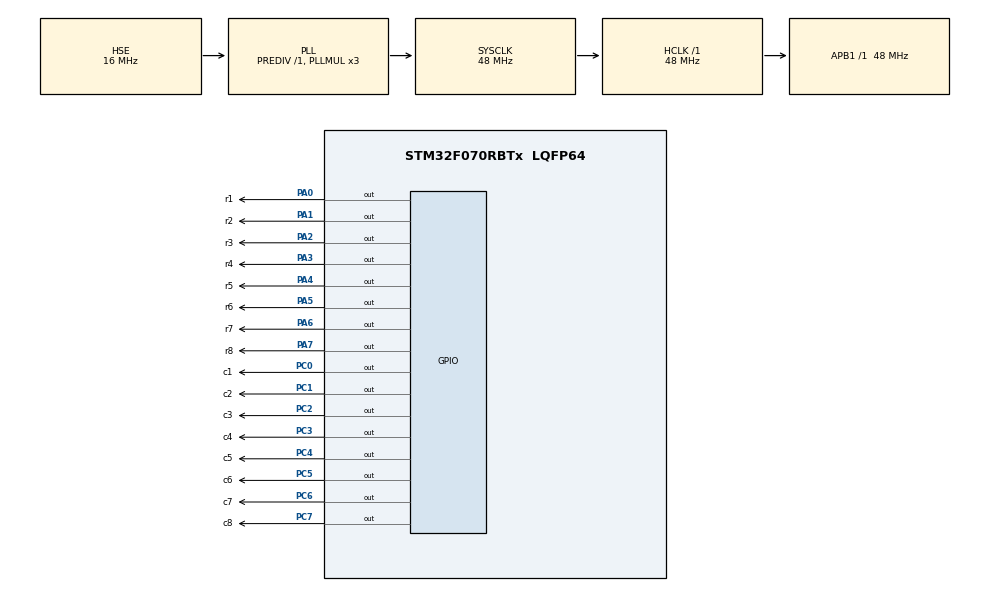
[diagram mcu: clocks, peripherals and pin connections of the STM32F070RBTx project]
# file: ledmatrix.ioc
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Mcu.Family=STM32F0
Mcu.Name=STM32F070RBTx
Mcu.Package=LQFP64
PA0.GPIO_Label=r1
PA0.PinState=GPIO_PIN_SET
PA0.Signal=GPIO_Output
PA1.GPIO_Label=r2
PA1.PinState=GPIO_PIN_SET
PA1.Signal=GPIO_Output
PA2.GPIO_Label=r3
PA2.PinState=GPIO_PIN_SET
PA2.Signal=GPIO_Output
PA3.GPIO_Label=r4
PA3.PinState=GPIO_PIN_SET
PA3.Signal=GPIO_Output
PA4.GPIO_Label=r5
PA4.PinState=GPIO_PIN_SET
PA4.Signal=GPIO_Output
PA5.GPIO_Label=r6
PA5.PinState=GPIO_PIN_SET
PA5.Signal=GPIO_Output
PA6.GPIO_Label=r7
PA6.PinState=GPIO_PIN_SET
PA6.Signal=GPIO_Output
PA7.GPIO_Label=r8
PA7.PinState=GPIO_PIN_SET
PA7.Signal=GPIO_Output
PC0.GPIO_Label=c1
PC0.Signal=GPIO_Output
PC1.GPIO_Label=c2
PC1.Signal=GPIO_Output
PC2.GPIO_Label=c3
PC2.Signal=GPIO_Output
PC3.GPIO_Label=c4
PC3.Signal=GPIO_Output
PC4.GPIO_Label=c5
PC4.Signal=GPIO_Output
PC5.GPIO_Label=c6
PC5.Signal=GPIO_Output
PC6.GPIO_Label=c7
PC6.Signal=GPIO_Output
PC7.GPIO_Label=c8
PC7.Signal=GPIO_Output
PF0-OSC_IN.Mode=HSE-External-Oscillator
PF0-OSC_IN.Signal=RCC_OSC_IN
PF1-OSC_OUT.Mode=HSE-External-Oscillator
PF1-OSC_OUT.Signal=RCC_OSC_OUT
ProjectManager.HeapSize=0x200
ProjectManager.StackSize=0x400
ProjectManager.TargetToolchain=MDK-ARM V5
RCC.AHBFreq_Value=48000000
RCC.APB1Freq_Value=48000000
RCC.APB1TimFreq_Value=48000000
RCC.HCLKFreq_Value=48000000
RCC.HSE_VALUE=16000000
RCC.PLLMUL=RCC_PLL_MUL3
RCC.PLLSourceVirtual=RCC_PLLSOURCE_HSE
RCC.SYSCLKFreq_VALUE=48000000
RCC.SYSCLKSource=RCC_SYSCLKSOURCE_PLLCLK
board=ledmatrix

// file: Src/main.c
/**
  ******************************************************************************
  * File Name          : main.c
  * Description        : Main program body
  ******************************************************************************
  ** This notice applies to any and all portions of this file
  * that are not between comment pairs USER CODE BEGIN and
  * USER CODE END. Other portions of this file, whether
  * inserted by the user or by software development tools
  * are owned by their respective copyright owners.
  *
  * COPYRIGHT(c) 2017 STMicroelectronics
  *
  * Redistribution and use in source and binary forms, with or without modification,
  * are permitted provided that the following conditions are met:
  *   1. Redistributions of source code must retain the above copyright notice,
  *      this list of conditions and the following disclaimer.
  *   2. Redistributions in binary form must reproduce the above copyright notice,
  *      this list of conditions and the following disclaimer in the documentation
  *      and/or other materials provided with the distribution.
  *   3. Neither the name of STMicroelectronics nor the names of its contributors
  *      may be used to endorse or promote products derived from this software
  *      without specific prior written permission.
  *
  * THIS SOFTWARE IS PROVIDED BY THE COPYRIGHT HOLDERS AND CONTRIBUTORS "AS IS"
  * AND ANY EXPRESS OR IMPLIED WARRANTIES, INCLUDING, BUT NOT LIMITED TO, THE
  * IMPLIED WARRANTIES OF MERCHANTABILITY AND FITNESS FOR A PARTICULAR PURPOSE ARE
  * DISCLAIMED. IN NO EVENT SHALL THE COPYRIGHT HOLDER OR CONTRIBUTORS BE LIABLE
  * FOR ANY DIRECT, INDIRECT, INCIDENTAL, SPECIAL, EXEMPLARY, OR CONSEQUENTIAL
  * DAMAGES (INCLUDING, BUT NOT LIMITED TO, PROCUREMENT OF SUBSTITUTE GOODS OR
  * SERVICES; LOSS OF USE, DATA, OR PROFITS; OR BUSINESS INTERRUPTION) HOWEVER
  * CAUSED AND ON ANY THEORY OF LIABILITY, WHETHER IN CONTRACT, STRICT LIABILITY,
  * OR TORT (INCLUDING NEGLIGENCE OR OTHERWISE) ARISING IN ANY WAY OUT OF THE USE
  * OF THIS SOFTWARE, EVEN IF ADVISED OF THE POSSIBILITY OF SUCH DAMAGE.
  *
  ******************************************************************************
  */
#include "main.h"
#include "stm32f0xx_hal.h"

/* USER CODE BEGIN PV */
/* Private variables ---------------------------------------------------------*/

/* USER CODE END PV */

void SystemClock_Config(void);
static void MX_GPIO_Init(void);

/* USER CODE BEGIN PFP */
/* Private function prototypes -----------------------------------------------*/

/* USER CODE END PFP */

int main(void)
{

  /* MCU Configuration----------------------------------------------------------*/

  /* Reset of all peripherals, Initializes the Flash interface and the Systick. */
  HAL_Init();

  /* Configure the system clock */
  SystemClock_Config();

  /* Initialize all configured peripherals */
  MX_GPIO_Init();

  /* Infinite loop */
  while (1)
  {

  /* USER CODE BEGIN 3 */

void prints();
//void printh();
//void printi();
//void printv();
//void printa();
//void printm();
//HAL_GPIO_WritePin(GPIOA,r1_Pin,0);// vertical begin
//HAL_GPIO_WritePin(GPIOA,r2_Pin,1);
//HAL_GPIO_WritePin(GPIOA,r3_Pin,1);
//HAL_GPIO_WritePin(GPIOA,r4_Pin,0);
//HAL_GPIO_WritePin(GPIOA,r5_Pin,0);
//HAL_GPIO_WritePin(GPIOA,r6_Pin,0);
//HAL_GPIO_WritePin(GPIOA,r7_Pin,0);
//HAL_GPIO_WritePin(GPIOA,r8_Pin,0);
//
//HAL_GPIO_WritePin(GPIOC,c1_Pin,0);
//HAL_GPIO_WritePin(GPIOC,c2_Pin,1);
//HAL_GPIO_WritePin(GPIOC,c3_Pin,1);
//HAL_GPIO_WritePin(GPIOC,c4_Pin,1);
//HAL_GPIO_WritePin(GPIOC,c5_Pin,1);
//HAL_GPIO_WritePin(GPIOC,c6_Pin,1);
//HAL_GPIO_WritePin(GPIOC,c7_Pin,1);
//HAL_GPIO_WritePin(GPIOC,c8_Pin,1);// vertical end
//HAL_Delay(1);
//HAL_GPIO_WritePin(GPIOA,r1_Pin,0);// vertical begin
//HAL_GPIO_WritePin(GPIOA,r2_Pin,0);
//HAL_GPIO_WritePin(GPIOA,r3_Pin,0);
//HAL_GPIO_WritePin(GPIOA,r4_Pin,0);
//HAL_GPIO_WritePin(GPIOA,r5_Pin,1);
//HAL_GPIO_WritePin(GPIOA,r6_Pin,1);
//HAL_GPIO_WritePin(GPIOA,r7_Pin,0);
//HAL_GPIO_WritePin(GPIOA,r8_Pin,0);
//
//HAL_GPIO_WritePin(GPIOC,c1_Pin,1);
//HAL_GPIO_WritePin(GPIOC,c2_Pin,1);
//HAL_GPIO_WritePin(GPIOC,c3_Pin,1);
//HAL_GPIO_WritePin(GPIOC,c4_Pin,1);
//HAL_GPIO_WritePin(GPIOC,c5_Pin,0);
//HAL_GPIO_WritePin(GPIOC,c6_Pin,1);
//HAL_GPIO_WritePin(GPIOC,c7_Pin,1);
//HAL_GPIO_WritePin(GPIOC,c8_Pin,1);// vertical end
//HAL_Delay(1);
//HAL_GPIO_WritePin(GPIOA,r1_Pin,1);// horizontal begin
//HAL_GPIO_WritePin(GPIOA,r2_Pin,0);
//HAL_GPIO_WritePin(GPIOA,r3_Pin,0);
//HAL_GPIO_WritePin(GPIOA,r4_Pin,1);
//HAL_GPIO_WritePin(GPIOA,r5_Pin,0);
//HAL_GPIO_WritePin(GPIOA,r6_Pin,0);
//HAL_GPIO_WritePin(GPIOA,r7_Pin,1);
//HAL_GPIO_WritePin(GPIOA,r8_Pin,0);

//HAL_GPIO_WritePin(GPIOC,c1_Pin,0);
//HAL_GPIO_WritePin(GPIOC,c2_Pin,0);
//HAL_GPIO_WritePin(GPIOC,c3_Pin,0);
//HAL_GPIO_WritePin(GPIOC,c4_Pin,0);
//HAL_GPIO_WritePin(GPIOC,c5_Pin,0);
//HAL_GPIO_WritePin(GPIOC,c6_Pin,1);
//HAL_GPIO_WritePin(GPIOC,c7_Pin,1);
//HAL_GPIO_WritePin(GPIOC,c8_Pin,1);// horizontal end
//HAL_Delay(1);
//

	}
  /* USER CODE END 3 */

}

/** System Clock Configuration
*/
void SystemClock_Config(void)
{

  RCC_OscInitTypeDef RCC_OscInitStruct;
  RCC_ClkInitTypeDef RCC_ClkInitStruct;

    /**Initializes the CPU, AHB and APB busses clocks
    */
  RCC_OscInitStruct.OscillatorType = RCC_OSCILLATORTYPE_HSE;
  RCC_OscInitStruct.HSEState = RCC_HSE_ON;
  RCC_OscInitStruct.HSIState = RCC_HSI_ON;
  RCC_OscInitStruct.PLL.PLLState = RCC_PLL_ON;
  RCC_OscInitStruct.PLL.PLLSource = RCC_PLLSOURCE_HSE;
  RCC_OscInitStruct.PLL.PLLMUL = RCC_PLL_MUL3;
  RCC_OscInitStruct.PLL.PREDIV = RCC_PREDIV_DIV1;
  if (HAL_RCC_OscConfig(&RCC_OscInitStruct) != HAL_OK)
  {
    _Error_Handler(__FILE__, __LINE__);
  }

    /**Initializes the CPU, AHB and APB busses clocks
    */
  RCC_ClkInitStruct.ClockType = RCC_CLOCKTYPE_HCLK|RCC_CLOCKTYPE_SYSCLK
                              |RCC_CLOCKTYPE_PCLK1;
  RCC_ClkInitStruct.SYSCLKSource = RCC_SYSCLKSOURCE_PLLCLK;
  RCC_ClkInitStruct.AHBCLKDivider = RCC_SYSCLK_DIV1;
  RCC_ClkInitStruct.APB1CLKDivider = RCC_HCLK_DIV1;

  if (HAL_RCC_ClockConfig(&RCC_ClkInitStruct, FLASH_LATENCY_1) != HAL_OK)
  {
    _Error_Handler(__FILE__, __LINE__);
  }

    /**Configure the Systick interrupt time
    */
  HAL_SYSTICK_Config(HAL_RCC_GetHCLKFreq()/1000);

    /**Configure the Systick
    */
  HAL_SYSTICK_CLKSourceConfig(SYSTICK_CLKSOURCE_HCLK);

  /* SysTick_IRQn interrupt configuration */
  HAL_NVIC_SetPriority(SysTick_IRQn, 0, 0);
}

/** Configure pins as
        * Analog
        * Input
        * Output
        * EVENT_OUT
        * EXTI
*/
static void MX_GPIO_Init(void)
{

  GPIO_InitTypeDef GPIO_InitStruct;

  /* GPIO Ports Clock Enable */
  __HAL_RCC_GPIOF_CLK_ENABLE();
  __HAL_RCC_GPIOC_CLK_ENABLE();
  __HAL_RCC_GPIOA_CLK_ENABLE();

  /*Configure GPIO pin Output Level */
  HAL_GPIO_WritePin(GPIOC, c1_Pin|c2_Pin|c3_Pin|c4_Pin
                          |c5_Pin|c6_Pin|c7_Pin|c8_Pin, GPIO_PIN_RESET);

  /*Configure GPIO pin Output Level */
  HAL_GPIO_WritePin(GPIOA, r1_Pin|r2_Pin|r3_Pin|r4_Pin
                          |r5_Pin|r6_Pin|r7_Pin|r8_Pin, GPIO_PIN_SET);

  /*Configure GPIO pins : c1_Pin c2_Pin c3_Pin c4_Pin
                           c5_Pin c6_Pin c7_Pin c8_Pin */
  GPIO_InitStruct.Pin = c1_Pin|c2_Pin|c3_Pin|c4_Pin
                          |c5_Pin|c6_Pin|c7_Pin|c8_Pin;
  GPIO_InitStruct.Mode = GPIO_MODE_OUTPUT_PP;
  GPIO_InitStruct.Pull = GPIO_NOPULL;
  GPIO_InitStruct.Speed = GPIO_SPEED_FREQ_LOW;
  HAL_GPIO_Init(GPIOC, &GPIO_InitStruct);

  /*Configure GPIO pins : r1_Pin r2_Pin r3_Pin r4_Pin
                           r5_Pin r6_Pin r7_Pin r8_Pin */
  GPIO_InitStruct.Pin = r1_Pin|r2_Pin|r3_Pin|r4_Pin
                          |r5_Pin|r6_Pin|r7_Pin|r8_Pin;
  GPIO_InitStruct.Mode = GPIO_MODE_OUTPUT_PP;
  GPIO_InitStruct.Pull = GPIO_NOPULL;
  GPIO_InitStruct.Speed = GPIO_SPEED_FREQ_LOW;
  HAL_GPIO_Init(GPIOA, &GPIO_InitStruct);

}

/* USER CODE BEGIN 4 */
void printa()
{
for(int i=100;i>0;i--)//A
{
HAL_GPIO_WritePin(GPIOA,r1_Pin,1);// vertical begin
HAL_GPIO_WritePin(GPIOA,r2_Pin,1);
HAL_GPIO_WritePin(GPIOA,r3_Pin,1);
HAL_GPIO_WritePin(GPIOA,r4_Pin,1);
HAL_GPIO_WritePin(GPIOA,r5_Pin,1);
HAL_GPIO_WritePin(GPIOA,r6_Pin,1);
HAL_GPIO_WritePin(GPIOA,r7_Pin,1);
HAL_GPIO_WritePin(GPIOA,r8_Pin,1);

HAL_GPIO_WritePin(GPIOC,c1_Pin,0);
HAL_GPIO_WritePin(GPIOC,c2_Pin,1);
HAL_GPIO_WritePin(GPIOC,c3_Pin,1);
HAL_GPIO_WritePin(GPIOC,c4_Pin,1);
HAL_GPIO_WritePin(GPIOC,c5_Pin,0);
HAL_GPIO_WritePin(GPIOC,c6_Pin,1);
HAL_GPIO_WritePin(GPIOC,c7_Pin,1);
HAL_GPIO_WritePin(GPIOC,c8_Pin,1);// vertical end
HAL_Delay(1);
HAL_GPIO_WritePin(GPIOA,r1_Pin,1);// horizontal begin
HAL_GPIO_WritePin(GPIOA,r2_Pin,0);
HAL_GPIO_WritePin(GPIOA,r3_Pin,0);
HAL_GPIO_WritePin(GPIOA,r4_Pin,0);
HAL_GPIO_WritePin(GPIOA,r5_Pin,1);
HAL_GPIO_WritePin(GPIOA,r6_Pin,0);
HAL_GPIO_WritePin(GPIOA,r7_Pin,0);
HAL_GPIO_WritePin(GPIOA,r8_Pin,0);

HAL_GPIO_WritePin(GPIOC,c1_Pin,0);
HAL_GPIO_WritePin(GPIOC,c2_Pin,0);
HAL_GPIO_WritePin(GPIOC,c3_Pin,0);
HAL_GPIO_WritePin(GPIOC,c4_Pin,0);
HAL_GPIO_WritePin(GPIOC,c5_Pin,0);
HAL_GPIO_WritePin(GPIOC,c6_Pin,1);
HAL_GPIO_WritePin(GPIOC,c7_Pin,1);
HAL_GPIO_WritePin(GPIOC,c8_Pin,1);// horizontal end
HAL_Delay(1);
}
}

void prints()
{
for(int i=100;i>0;i--)//S
{
HAL_GPIO_WritePin(GPIOA,r1_Pin,0);// vertical begin
HAL_GPIO_WritePin(GPIOA,r2_Pin,1);
HAL_GPIO_WritePin(GPIOA,r3_Pin,1);
HAL_GPIO_WritePin(GPIOA,r4_Pin,0);
HAL_GPIO_WritePin(GPIOA,r5_Pin,0);
HAL_GPIO_WritePin(GPIOA,r6_Pin,0);
HAL_GPIO_WritePin(GPIOA,r7_Pin,0);
HAL_GPIO_WritePin(GPIOA,r8_Pin,0);

HAL_GPIO_WritePin(GPIOC,c1_Pin,0);
HAL_GPIO_WritePin(GPIOC,c2_Pin,1);
HAL_GPIO_WritePin(GPIOC,c3_Pin,1);
HAL_GPIO_WritePin(GPIOC,c4_Pin,1);
HAL_GPIO_WritePin(GPIOC,c5_Pin,1);
HAL_GPIO_WritePin(GPIOC,c6_Pin,1);
HAL_GPIO_WritePin(GPIOC,c7_Pin,1);
HAL_GPIO_WritePin(GPIOC,c8_Pin,1);// vertical end
HAL_Delay(1);
HAL_GPIO_WritePin(GPIOA,r1_Pin,0);// vertical begin
HAL_GPIO_WritePin(GPIOA,r2_Pin,0);
HAL_GPIO_WritePin(GPIOA,r3_Pin,0);
HAL_GPIO_WritePin(GPIOA,r4_Pin,0);
HAL_GPIO_WritePin(GPIOA,r5_Pin,1);
HAL_GPIO_WritePin(GPIOA,r6_Pin,1);
HAL_GPIO_WritePin(GPIOA,r7_Pin,0);
HAL_GPIO_WritePin(GPIOA,r8_Pin,0);

HAL_GPIO_WritePin(GPIOC,c1_Pin,1);
HAL_GPIO_WritePin(GPIOC,c2_Pin,1);
HAL_GPIO_WritePin(GPIOC,c3_Pin,1);
HAL_GPIO_WritePin(GPIOC,c4_Pin,1);
HAL_GPIO_WritePin(GPIOC,c5_Pin,0);
HAL_GPIO_WritePin(GPIOC,c6_Pin,1);
HAL_GPIO_WritePin(GPIOC,c7_Pin,1);
HAL_GPIO_WritePin(GPIOC,c8_Pin,1);// vertical end
HAL_Delay(1);
HAL_GPIO_WritePin(GPIOA,r1_Pin,1);// horizontal begin
HAL_GPIO_WritePin(GPIOA,r2_Pin,0);
HAL_GPIO_WritePin(GPIOA,r3_Pin,0);
HAL_GPIO_WritePin(GPIOA,r4_Pin,1);
HAL_GPIO_WritePin(GPIOA,r5_Pin,0);
HAL_GPIO_WritePin(GPIOA,r6_Pin,0);
HAL_GPIO_WritePin(GPIOA,r7_Pin,1);
HAL_GPIO_WritePin(GPIOA,r8_Pin,0);

HAL_GPIO_WritePin(GPIOC,c1_Pin,0);
HAL_GPIO_WritePin(GPIOC,c2_Pin,0);
HAL_GPIO_WritePin(GPIOC,c3_Pin,0);
HAL_GPIO_WritePin(GPIOC,c4_Pin,0);
HAL_GPIO_WritePin(GPIOC,c5_Pin,0);
HAL_GPIO_WritePin(GPIOC,c6_Pin,1);
HAL_GPIO_WritePin(GPIOC,c7_Pin,1);
HAL_GPIO_WritePin(GPIOC,c8_Pin,1);// horizontal end
HAL_Delay(1);
}
}
void printh()
{
	for(int i=100;i>0;i--)//H
{
HAL_GPIO_WritePin(GPIOA,r1_Pin,1);// vertical begin
HAL_GPIO_WritePin(GPIOA,r2_Pin,1);
HAL_GPIO_WritePin(GPIOA,r3_Pin,1);
HAL_GPIO_WritePin(GPIOA,r4_Pin,1);
HAL_GPIO_WritePin(GPIOA,r5_Pin,1);
HAL_GPIO_WritePin(GPIOA,r6_Pin,1);
HAL_GPIO_WritePin(GPIOA,r7_Pin,1);
HAL_GPIO_WritePin(GPIOA,r8_Pin,0);

HAL_GPIO_WritePin(GPIOC,c1_Pin,0);
HAL_GPIO_WritePin(GPIOC,c2_Pin,1);
HAL_GPIO_WritePin(GPIOC,c3_Pin,1);
HAL_GPIO_WritePin(GPIOC,c4_Pin,1);
HAL_GPIO_WritePin(GPIOC,c5_Pin,0);
HAL_GPIO_WritePin(GPIOC,c6_Pin,1);
HAL_GPIO_WritePin(GPIOC,c7_Pin,1);
HAL_GPIO_WritePin(GPIOC,c8_Pin,1);// vertical end
HAL_Delay(1);

HAL_GPIO_WritePin(GPIOA,r1_Pin,0);// horizontal begin
HAL_GPIO_WritePin(GPIOA,r2_Pin,0);
HAL_GPIO_WritePin(GPIOA,r3_Pin,0);
HAL_GPIO_WritePin(GPIOA,r4_Pin,1);
HAL_GPIO_WritePin(GPIOA,r5_Pin,0);
HAL_GPIO_WritePin(GPIOA,r6_Pin,0);
HAL_GPIO_WritePin(GPIOA,r7_Pin,0);
HAL_GPIO_WritePin(GPIOA,r8_Pin,0);

HAL_GPIO_WritePin(GPIOC,c1_Pin,1);
HAL_GPIO_WritePin(GPIOC,c2_Pin,0);
HAL_GPIO_WritePin(GPIOC,c3_Pin,0);
HAL_GPIO_WritePin(GPIOC,c4_Pin,0);
HAL_GPIO_WritePin(GPIOC,c5_Pin,1);
HAL_GPIO_WritePin(GPIOC,c6_Pin,1);
HAL_GPIO_WritePin(GPIOC,c7_Pin,1);
HAL_GPIO_WritePin(GPIOC,c8_Pin,1);// horizontal end
HAL_Delay(1);
}
}
void printi()
{
for(int i=100;i>0;i--)//I
{
HAL_GPIO_WritePin(GPIOA,r1_Pin,0);// vertical begin
HAL_GPIO_WritePin(GPIOA,r2_Pin,1);
HAL_GPIO_WritePin(GPIOA,r3_Pin,1);
HAL_GPIO_WritePin(GPIOA,r4_Pin,1);
HAL_GPIO_WritePin(GPIOA,r5_Pin,1);
HAL_GPIO_WritePin(GPIOA,r6_Pin,1);
HAL_GPIO_WritePin(GPIOA,r7_Pin,0);
HAL_GPIO_WritePin(GPIOA,r8_Pin,0);

HAL_GPIO_WritePin(GPIOC,c1_Pin,1);
HAL_GPIO_WritePin(GPIOC,c2_Pin,1);
HAL_GPIO_WritePin(GPIOC,c3_Pin,0);
HAL_GPIO_WritePin(GPIOC,c4_Pin,1);
HAL_GPIO_WritePin(GPIOC,c5_Pin,1);
HAL_GPIO_WritePin(GPIOC,c6_Pin,1);
HAL_GPIO_WritePin(GPIOC,c7_Pin,1);
HAL_GPIO_WritePin(GPIOC,c8_Pin,1);// vertical end
HAL_Delay(1);

HAL_GPIO_WritePin(GPIOA,r1_Pin,1);// horizontal begin
HAL_GPIO_WritePin(GPIOA,r2_Pin,0);
HAL_GPIO_WritePin(GPIOA,r3_Pin,0);
HAL_GPIO_WritePin(GPIOA,r4_Pin,0);
HAL_GPIO_WritePin(GPIOA,r5_Pin,0);
HAL_GPIO_WritePin(GPIOA,r6_Pin,0);
HAL_GPIO_WritePin(GPIOA,r7_Pin,1);
HAL_GPIO_WritePin(GPIOA,r8_Pin,0);

HAL_GPIO_WritePin(GPIOC,c1_Pin,0);
HAL_GPIO_WritePin(GPIOC,c2_Pin,0);
HAL_GPIO_WritePin(GPIOC,c3_Pin,0);
HAL_GPIO_WritePin(GPIOC,c4_Pin,0);
HAL_GPIO_WritePin(GPIOC,c5_Pin,0);
HAL_GPIO_WritePin(GPIOC,c6_Pin,1);
HAL_GPIO_WritePin(GPIOC,c7_Pin,1);
HAL_GPIO_WritePin(GPIOC,c8_Pin,1);// horizontal end
HAL_Delay(1);
}
}
void printv()
{
for(int i=100;i>0;i--)//V
{
HAL_GPIO_WritePin(GPIOA,r1_Pin,1);// vertical begin
HAL_GPIO_WritePin(GPIOA,r2_Pin,1);
HAL_GPIO_WritePin(GPIOA,r3_Pin,1);
HAL_GPIO_WritePin(GPIOA,r4_Pin,1);
HAL_GPIO_WritePin(GPIOA,r5_Pin,1);
HAL_GPIO_WritePin(GPIOA,r6_Pin,0);
HAL_GPIO_WritePin(GPIOA,r7_Pin,0);
HAL_GPIO_WritePin(GPIOA,r8_Pin,0);

HAL_GPIO_WritePin(GPIOC,c1_Pin,0);
HAL_GPIO_WritePin(GPIOC,c2_Pin,1);
HAL_GPIO_WritePin(GPIOC,c3_Pin,1);
HAL_GPIO_WritePin(GPIOC,c4_Pin,1);
HAL_GPIO_WritePin(GPIOC,c5_Pin,0);
HAL_GPIO_WritePin(GPIOC,c6_Pin,1);
HAL_GPIO_WritePin(GPIOC,c7_Pin,1);
HAL_GPIO_WritePin(GPIOC,c8_Pin,1);// vertical end
HAL_Delay(1);

HAL_GPIO_WritePin(GPIOA,r1_Pin,0);// horizontal begin
HAL_GPIO_WritePin(GPIOA,r2_Pin,0);
HAL_GPIO_WritePin(GPIOA,r3_Pin,0);
HAL_GPIO_WritePin(GPIOA,r4_Pin,0);
HAL_GPIO_WritePin(GPIOA,r5_Pin,0);
HAL_GPIO_WritePin(GPIOA,r6_Pin,1);
HAL_GPIO_WritePin(GPIOA,r7_Pin,0);
HAL_GPIO_WritePin(GPIOA,r8_Pin,0);

HAL_GPIO_WritePin(GPIOC,c1_Pin,1);
HAL_GPIO_WritePin(GPIOC,c2_Pin,0);
HAL_GPIO_WritePin(GPIOC,c3_Pin,1);
HAL_GPIO_WritePin(GPIOC,c4_Pin,0);
HAL_GPIO_WritePin(GPIOC,c5_Pin,1);
HAL_GPIO_WritePin(GPIOC,c6_Pin,1);
HAL_GPIO_WritePin(GPIOC,c7_Pin,1);
HAL_GPIO_WritePin(GPIOC,c8_Pin,1);// horizontal end
HAL_Delay(1);

HAL_GPIO_WritePin(GPIOA,r1_Pin,0);// horizontal begin
HAL_GPIO_WritePin(GPIOA,r2_Pin,0);
HAL_GPIO_WritePin(GPIOA,r3_Pin,0);
HAL_GPIO_WritePin(GPIOA,r4_Pin,0);
HAL_GPIO_WritePin(GPIOA,r5_Pin,0);
HAL_GPIO_WritePin(GPIOA,r6_Pin,0);
HAL_GPIO_WritePin(GPIOA,r7_Pin,1);
HAL_GPIO_WritePin(GPIOA,r8_Pin,0);

HAL_GPIO_WritePin(GPIOC,c1_Pin,1);
HAL_GPIO_WritePin(GPIOC,c2_Pin,1);
HAL_GPIO_WritePin(GPIOC,c3_Pin,0);
HAL_GPIO_WritePin(GPIOC,c4_Pin,1);
HAL_GPIO_WritePin(GPIOC,c5_Pin,1);
HAL_GPIO_WritePin(GPIOC,c6_Pin,1);
HAL_GPIO_WritePin(GPIOC,c7_Pin,1);
HAL_GPIO_WritePin(GPIOC,c8_Pin,1);// horizontal end
HAL_Delay(1);
}
}
void printm()
{
for(int i=100;i>0;i--)//M
{
HAL_GPIO_WritePin(GPIOA,r1_Pin,1);// vertical begin
HAL_GPIO_WritePin(GPIOA,r2_Pin,1);
HAL_GPIO_WritePin(GPIOA,r3_Pin,1);
HAL_GPIO_WritePin(GPIOA,r4_Pin,1);
HAL_GPIO_WritePin(GPIOA,r5_Pin,1);
HAL_GPIO_WritePin(GPIOA,r6_Pin,1);
HAL_GPIO_WritePin(GPIOA,r7_Pin,1);
HAL_GPIO_WritePin(GPIOA,r8_Pin,0);

HAL_GPIO_WritePin(GPIOC,c1_Pin,0);
HAL_GPIO_WritePin(GPIOC,c2_Pin,1);
HAL_GPIO_WritePin(GPIOC,c3_Pin,1);
HAL_GPIO_WritePin(GPIOC,c4_Pin,1);
HAL_GPIO_WritePin(GPIOC,c5_Pin,0);
HAL_GPIO_WritePin(GPIOC,c6_Pin,1);
HAL_GPIO_WritePin(GPIOC,c7_Pin,1);
HAL_GPIO_WritePin(GPIOC,c8_Pin,1);// vertical end
HAL_Delay(1);

HAL_GPIO_WritePin(GPIOA,r1_Pin,0);// horizontal begin
HAL_GPIO_WritePin(GPIOA,r2_Pin,1);
HAL_GPIO_WritePin(GPIOA,r3_Pin,0);
HAL_GPIO_WritePin(GPIOA,r4_Pin,0);
HAL_GPIO_WritePin(GPIOA,r5_Pin,0);
HAL_GPIO_WritePin(GPIOA,r6_Pin,0);
HAL_GPIO_WritePin(GPIOA,r7_Pin,0);
HAL_GPIO_WritePin(GPIOA,r8_Pin,0);

HAL_GPIO_WritePin(GPIOC,c1_Pin,1);
HAL_GPIO_WritePin(GPIOC,c2_Pin,0);
HAL_GPIO_WritePin(GPIOC,c3_Pin,1);
HAL_GPIO_WritePin(GPIOC,c4_Pin,0);
HAL_GPIO_WritePin(GPIOC,c5_Pin,1);
HAL_GPIO_WritePin(GPIOC,c6_Pin,1);
HAL_GPIO_WritePin(GPIOC,c7_Pin,1);
HAL_GPIO_WritePin(GPIOC,c8_Pin,1);// horizontal end
HAL_Delay(1);

HAL_GPIO_WritePin(GPIOA,r1_Pin,0);// horizontal begin
HAL_GPIO_WritePin(GPIOA,r2_Pin,0);
HAL_GPIO_WritePin(GPIOA,r3_Pin,1);
HAL_GPIO_WritePin(GPIOA,r4_Pin,0);
HAL_GPIO_WritePin(GPIOA,r5_Pin,0);
HAL_GPIO_WritePin(GPIOA,r6_Pin,0);
HAL_GPIO_WritePin(GPIOA,r7_Pin,0);
HAL_GPIO_WritePin(GPIOA,r8_Pin,0);

HAL_GPIO_WritePin(GPIOC,c1_Pin,1);
HAL_GPIO_WritePin(GPIOC,c2_Pin,1);
HAL_GPIO_WritePin(GPIOC,c3_Pin,0);
HAL_GPIO_WritePin(GPIOC,c4_Pin,1);
HAL_GPIO_WritePin(GPIOC,c5_Pin,1);
HAL_GPIO_WritePin(GPIOC,c6_Pin,1);
HAL_GPIO_WritePin(GPIOC,c7_Pin,1);
HAL_GPIO_WritePin(GPIOC,c8_Pin,1);// horizontal end
HAL_Delay(1);
}
}

void printb()
{
for(int i=100;i>0;i--)//B
{
HAL_GPIO_WritePin(GPIOA,r1_Pin,1);// vertical begin
HAL_GPIO_WritePin(GPIOA,r2_Pin,1);
HAL_GPIO_WritePin(GPIOA,r3_Pin,1);
HAL_GPIO_WritePin(GPIOA,r4_Pin,1);
HAL_GPIO_WritePin(GPIOA,r5_Pin,1);
HAL_GPIO_WritePin(GPIOA,r6_Pin,1);
HAL_GPIO_WritePin(GPIOA,r7_Pin,1);
HAL_GPIO_WritePin(GPIOA,r8_Pin,1);

HAL_GPIO_WritePin(GPIOC,c1_Pin,0);
HAL_GPIO_WritePin(GPIOC,c2_Pin,1);
HAL_GPIO_WritePin(GPIOC,c3_Pin,1);
HAL_GPIO_WritePin(GPIOC,c4_Pin,1);
HAL_GPIO_WritePin(GPIOC,c5_Pin,1);
HAL_GPIO_WritePin(GPIOC,c6_Pin,1);
HAL_GPIO_WritePin(GPIOC,c7_Pin,1);
HAL_GPIO_WritePin(GPIOC,c8_Pin,1);// vertical end
HAL_Delay(1);
HAL_GPIO_WritePin(GPIOA,r1_Pin,0);// horizontal begin
HAL_GPIO_WritePin(GPIOA,r2_Pin,1);
HAL_GPIO_WritePin(GPIOA,r3_Pin,1);
HAL_GPIO_WritePin(GPIOA,r4_Pin,0);
HAL_GPIO_WritePin(GPIOA,r5_Pin,1);
HAL_GPIO_WritePin(GPIOA,r6_Pin,1);
HAL_GPIO_WritePin(GPIOA,r7_Pin,1);
HAL_GPIO_WritePin(GPIOA,r8_Pin,0);

HAL_GPIO_WritePin(GPIOC,c1_Pin,1);
HAL_GPIO_WritePin(GPIOC,c2_Pin,1);
HAL_GPIO_WritePin(GPIOC,c3_Pin,1);
HAL_GPIO_WritePin(GPIOC,c4_Pin,1);
HAL_GPIO_WritePin(GPIOC,c5_Pin,0);
HAL_GPIO_WritePin(GPIOC,c6_Pin,1);
HAL_GPIO_WritePin(GPIOC,c7_Pin,1);
HAL_GPIO_WritePin(GPIOC,c8_Pin,1);// horizontal end
HAL_Delay(1);

HAL_GPIO_WritePin(GPIOA,r1_Pin,1);// vertical begin
HAL_GPIO_WritePin(GPIOA,r2_Pin,0);
HAL_GPIO_WritePin(GPIOA,r3_Pin,0);
HAL_GPIO_WritePin(GPIOA,r4_Pin,1);
HAL_GPIO_WritePin(GPIOA,r5_Pin,0);
HAL_GPIO_WritePin(GPIOA,r6_Pin,0);
HAL_GPIO_WritePin(GPIOA,r7_Pin,0);
HAL_GPIO_WritePin(GPIOA,r8_Pin,1);

HAL_GPIO_WritePin(GPIOC,c1_Pin,1);
HAL_GPIO_WritePin(GPIOC,c2_Pin,0);
HAL_GPIO_WritePin(GPIOC,c3_Pin,0);
HAL_GPIO_WritePin(GPIOC,c4_Pin,0);
HAL_GPIO_WritePin(GPIOC,c5_Pin,1);
HAL_GPIO_WritePin(GPIOC,c6_Pin,1);
HAL_GPIO_WritePin(GPIOC,c7_Pin,1);
HAL_GPIO_WritePin(GPIOC,c8_Pin,1);// vertical end
HAL_Delay(1);}
}

void print8()
{
for(int i=100;i>0;i--)//8
{
HAL_GPIO_WritePin(GPIOA,r1_Pin,0);// vertical begin
HAL_GPIO_WritePin(GPIOA,r2_Pin,1);
HAL_GPIO_WritePin(GPIOA,r3_Pin,1);
HAL_GPIO_WritePin(GPIOA,r4_Pin,0);
HAL_GPIO_WritePin(GPIOA,r5_Pin,1);
HAL_GPIO_WritePin(GPIOA,r6_Pin,1);
HAL_GPIO_WritePin(GPIOA,r7_Pin,0);
HAL_GPIO_WritePin(GPIOA,r8_Pin,0);

HAL_GPIO_WritePin(GPIOC,c1_Pin,0);
HAL_GPIO_WritePin(GPIOC,c2_Pin,1);
HAL_GPIO_WritePin(GPIOC,c3_Pin,1);
HAL_GPIO_WritePin(GPIOC,c4_Pin,1);
HAL_GPIO_WritePin(GPIOC,c5_Pin,0);
HAL_GPIO_WritePin(GPIOC,c6_Pin,1);
HAL_GPIO_WritePin(GPIOC,c7_Pin,1);
HAL_GPIO_WritePin(GPIOC,c8_Pin,1);// vertical end
HAL_Delay(1);
HAL_GPIO_WritePin(GPIOA,r1_Pin,1);// horizontal begin
HAL_GPIO_WritePin(GPIOA,r2_Pin,0);
HAL_GPIO_WritePin(GPIOA,r3_Pin,0);
HAL_GPIO_WritePin(GPIOA,r4_Pin,1);
HAL_GPIO_WritePin(GPIOA,r5_Pin,0);
HAL_GPIO_WritePin(GPIOA,r6_Pin,0);
HAL_GPIO_WritePin(GPIOA,r7_Pin,1);
HAL_GPIO_WritePin(GPIOA,r8_Pin,0);

HAL_GPIO_WritePin(GPIOC,c1_Pin,0);
HAL_GPIO_WritePin(GPIOC,c2_Pin,0);
HAL_GPIO_WritePin(GPIOC,c3_Pin,0);
HAL_GPIO_WritePin(GPIOC,c4_Pin,0);
HAL_GPIO_WritePin(GPIOC,c5_Pin,0);
HAL_GPIO_WritePin(GPIOC,c6_Pin,1);
HAL_GPIO_WritePin(GPIOC,c7_Pin,1);
HAL_GPIO_WritePin(GPIOC,c8_Pin,1);// horizontal end
HAL_Delay(1);}
}
/* USER CODE END 4 */

void _Error_Handler(char * file, int line)
{
  while(1)
  {
  }
}

/************************ (C) COPYRIGHT STMicroelectronics *****END OF FILE****/
